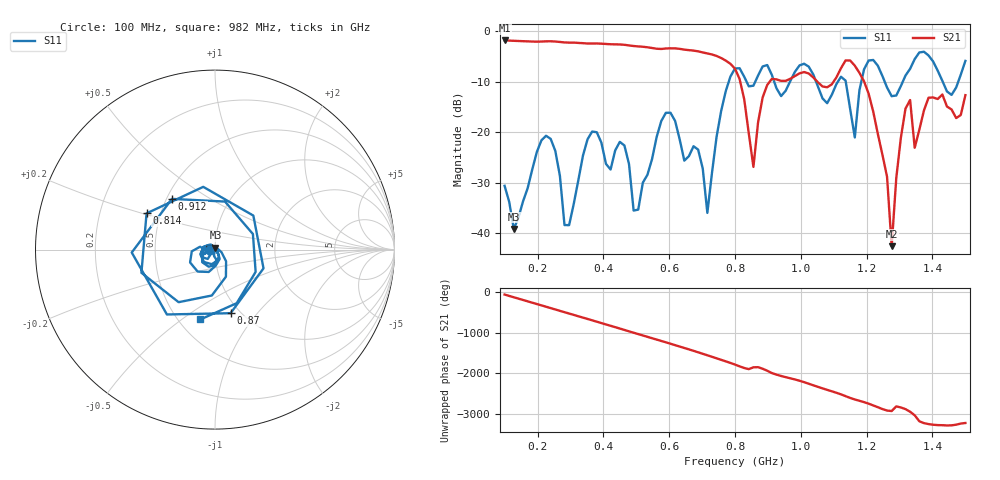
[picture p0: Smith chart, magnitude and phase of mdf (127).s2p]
! NanoVNA-App
! Date: 2025-09-26 09:40:43
! Start: 100MHz Stop: 1,5GHz Points: 101
! S-Parameter data: F S11 S21 S12 S22
# Hz S RI R 50
!  Frequency  S11_Real  S11_Imag  S21_Real  S21_Imag  S12_Real  S12_Imag  S22_Real  S22_Imag
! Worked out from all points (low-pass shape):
!   101 points, 100 MHz to 1.5 GHz, reference 50 ohm
!   highest |S21| = -1.79 dB at 100 MHz (marker M1); lowest = -42.6 dB at 1.276 GHz (marker M2)
!   |S21| within 3 dB of the highest: start of sweep to 740.5 MHz
!   lowest |S11| = -39.2 dB at 128 MHz (marker M3), VSWR 1.02, Z = 50.3 + j1.07 ohm
!   |S11| at or under -10 dB: start of sweep to 780.9 MHz; 1.046 GHz to 1.112 GHz (65.81 MHz wide, 6.1 % of centre); 1.255 GHz to 1.31 GHz (54.49 MHz wide, 4.25 % of centre) (the widest 3 of 7)
!   S12 and S22 are empty: the file has one direction only
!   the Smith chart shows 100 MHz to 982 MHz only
!   S11 on the Smith chart (normalised r, x): 100 MHz: 0.94, -0.01; 814 MHz: 0.42, +0.21; 870 MHz: 0.90, -0.74; 912 MHz: 0.53, +0.35; 982 MHz: 0.64, -0.59
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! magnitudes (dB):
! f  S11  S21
! 100 MHz  -30.6  -1.8
! 128 MHz  -39.2  -1.9
! 212 MHz  -21.6  -2.0
! 282 MHz  -38.4  -2.2
! 338 MHz  -24.6  -2.3
! 464 MHz  -22.6  -2.6
! 506 MHz  -35.3  -3.0
! 576 MHz  -17.8  -3.5
! 688 MHz  -23.4  -3.9
! 716 MHz  -36.0  -4.4
! 800 MHz  -7.3  -7.4
! 814 MHz  -7.3  -9.4
! 856 MHz  -10.8  -26.9
! 870 MHz  -8.8  -18.1
! 912 MHz  -8.6  -9.4
! 982 MHz  -8.0  -8.9
! 1.038 GHz  -8.6  -9.1
! 1.164 GHz  -21.0  -6.8
! 1.192 GHz  -7.5  -9.9
! 1.276 GHz  -12.8  -42.6
! 1.318 GHz  -8.7  -15.3
! 1.5 GHz  -5.8  -12.6
